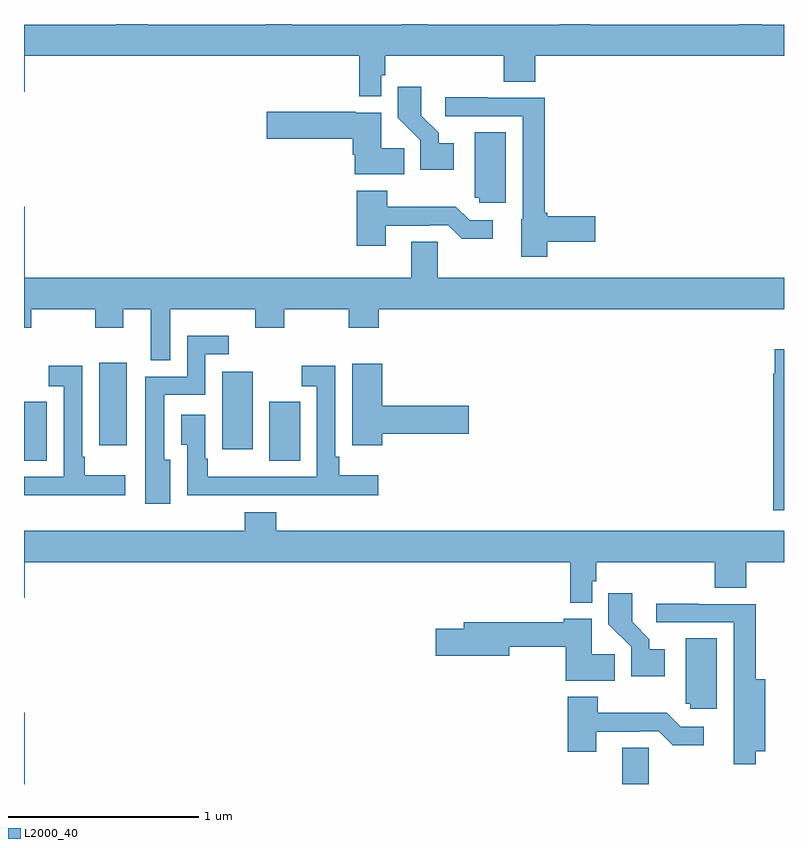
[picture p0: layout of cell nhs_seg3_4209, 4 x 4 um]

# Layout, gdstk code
import gdstk
lib = gdstk.Library(unit=1e-6, precision=1e-09)
def R(c, l, rs):  # rectangles x0, y0, x1, y1
    for r in rs: c.add(gdstk.rectangle(r[:2], r[2:], *l))
def P(c, l, *ps):  # polygons
    for p in ps: c.add(gdstk.Polygon(p, *l))
L2000_40 = (2000, 40)

nhs_seg3_4209 = lib.new_cell('nhs_seg3_4209')
R(nhs_seg3_4209, L2000_40, [(333,714.4,333.004,714.775), (336.149,714.4,336.288,714.59), (333,716.101,333.121,716.412), (334.292,716.101,334.453,716.412), (334.043,716.163,334.204,716.569), (333.395,716.184,333.541,716.617)])
P(nhs_seg3_4209, L2000_40, [(334.881,718.131),(334.901,718.131),(334.901,718.232),(335.525,718.232),(335.525,718.096),(335.69,718.096),(335.69,718.232),(337,718.232),(337,718.396),(336.883,718.396),(336.883,718.4),(336.762,718.4),(336.762,718.396),(335.984,718.396),(335.984,718.4),(335.819,718.4),(335.819,718.396),(335.123,718.396),(335.123,718.4),(334.987,718.4),(334.987,718.396),(334.409,718.396),(334.409,718.4),(334.273,718.4),(334.273,718.396),(333.65,718.396),(333.65,718.4),(333.485,718.4),(333.485,718.396),(333,718.396),(333,718.044),(333.004,718.044),(333.004,718.232),(334.765,718.232),(334.765,718.019),(334.881,718.019)],
  [(335.263,717.772),(335.182,717.772),(335.182,717.827),(335.092,717.917),(335.092,718.069),(334.966,718.069),(334.966,717.906),(335.085,717.787),(335.085,717.632),(335.263,717.632)],
  [(335.754,717.254),(336.007,717.254),(336.007,717.389),(335.754,717.389),(335.754,717.407),(335.741,717.407),(335.741,718.011),(335.441,718.011),(335.441,718.014),(335.217,718.014),(335.217,717.915),(335.625,717.915),(335.625,717.372),(335.618,717.372),(335.618,717.176),(335.754,717.176)],
  [(335,717.746),(334.879,717.746),(334.879,717.934),(334.746,717.934),(334.746,717.939),(334.278,717.939),(334.278,717.797),(334.73,717.797),(334.73,717.713),(334.742,717.713),(334.742,717.608),(335,717.608)],
  [(335.536,717.83),(335.372,717.83),(335.372,717.486),(335.397,717.486),(335.397,717.459),(335.536,717.459)],
  [(334.903,717.339),(335.132,717.339),(335.132,717.342),(335.232,717.342),(335.305,717.269),(335.467,717.269),(335.467,717.366),(335.346,717.366),(335.273,717.439),(334.911,717.439),(334.911,717.523),(334.751,717.523),(334.751,717.234),(334.903,717.234)],
  [(333.769,716.9),(334.216,716.9),(334.216,716.801),(334.371,716.801),(334.371,716.9),(334.708,716.9),(334.708,716.801),(334.868,716.801),(334.868,716.9),(337,716.9),(337,717.064),(335.178,717.064),(335.178,717.254),(335.039,717.254),(335.039,717.064),(333.004,717.064),(333.004,717.439),(333,717.439),(333,716.801),(333.039,716.801),(333.039,716.9),(333.376,716.9),(333.376,716.801),(333.523,716.801),(333.523,716.9),(333.668,716.9),(333.668,716.629),(333.769,716.629)],
  [(333.769,716.107),(333.739,716.107),(333.739,716.448),(333.954,716.448),(333.954,716.661),(334.078,716.661),(334.078,716.758),(333.858,716.758),(333.858,716.544),(333.638,716.544),(333.638,715.875),(333.769,715.875)],
  [(337,716.689),(336.95,716.689),(336.95,716.559),(336.943,716.559),(336.943,715.842),(337,715.842)],
  [(334.886,716.243),(335.341,716.243),(335.341,716.39),(334.886,716.39),(334.886,716.611),(334.727,716.611),(334.727,716.184),(334.886,716.184)],
  [(334.079,715.92),(334.445,715.92),(334.445,715.919),(334.864,715.919),(334.864,716.026),(334.658,716.026),(334.658,716.122),(334.638,716.122),(334.638,716.602),(334.461,716.602),(334.461,716.493),(334.542,716.493),(334.542,716.016),(334.196,716.016),(334.196,716.017),(333.967,716.017),(333.967,716.113),(333.954,716.113),(333.954,716.344),(333.827,716.344),(333.827,716.185),(333.858,716.185),(333.858,715.919),(334.079,715.919)],
  [(333.532,716.026),(333.319,716.026),(333.319,716.122),(333.306,716.122),(333.306,716.602),(333.129,716.602),(333.129,716.493),(333.21,716.493),(333.21,716.016),(333,716.016),(333,715.92),(333.113,715.92),(333.113,715.919),(333.532,715.919)],
  [(335.991,715.467),(336.011,715.467),(336.011,715.568),(336.635,715.568),(336.635,715.432),(336.8,715.432),(336.8,715.568),(337,715.568),(337,715.732),(334.328,715.732),(334.328,715.831),(334.163,715.831),(334.163,715.732),(333,715.732),(333,715.38),(333.004,715.38),(333.004,715.568),(335.875,715.568),(335.875,715.355),(335.991,715.355)],
  [(336.373,715.108),(336.292,715.108),(336.292,715.163),(336.202,715.253),(336.202,715.405),(336.076,715.405),(336.076,715.242),(336.195,715.123),(336.195,714.968),(336.373,714.968)],
  [(336.851,714.572),(336.902,714.572),(336.902,714.952),(336.851,714.952),(336.851,715.347),(336.551,715.347),(336.551,715.35),(336.327,715.35),(336.327,715.251),(336.735,715.251),(336.735,714.504),(336.851,714.504)],
  [(336.11,715.082),(335.989,715.082),(335.989,715.27),(335.84,715.27),(335.84,715.252),(335.315,715.252),(335.315,715.218),(335.166,715.218),(335.166,715.076),(335.554,715.076),(335.554,715.123),(335.852,715.123),(335.852,714.944),(336.11,714.944)],
  [(336.646,715.166),(336.482,715.166),(336.482,714.822),(336.507,714.822),(336.507,714.795),(336.646,714.795)],
  [(336.013,714.675),(336.242,714.675),(336.242,714.678),(336.342,714.678),(336.415,714.605),(336.577,714.605),(336.577,714.702),(336.456,714.702),(336.383,714.775),(336.021,714.775),(336.021,714.859),(335.861,714.859),(335.861,714.57),(336.013,714.57)])

lib.write_gds('nhs_seg3_4209.gds')
